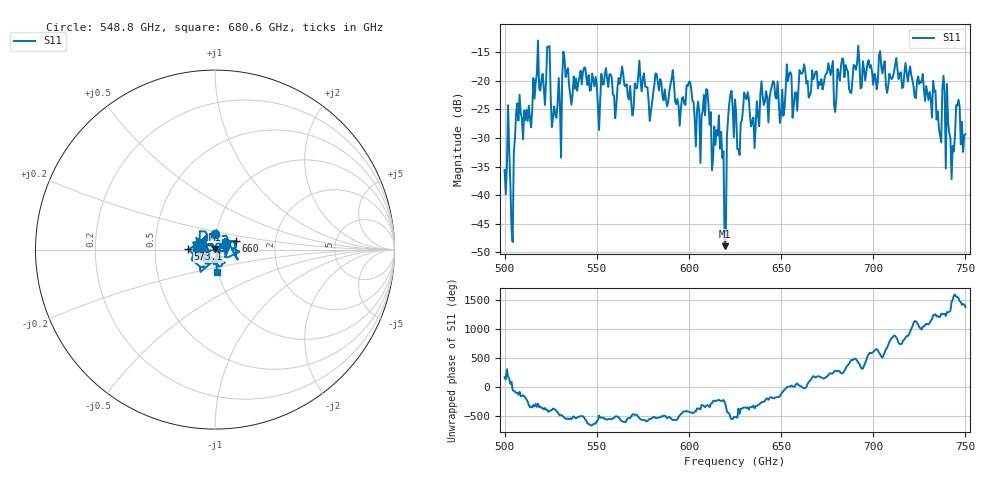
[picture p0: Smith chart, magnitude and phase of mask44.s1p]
!Created with skrf (http://scikit-rf.org).
# GHz S MA R 50.0
!freq magS11 angS11
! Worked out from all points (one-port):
!   401 points, 500 GHz to 750 GHz, reference 50 ohm
!   lowest |S11| = -48.9 dB at 619.4 GHz (marker M1), VSWR 1.01, Z = 49.9 + j0.354 ohm
!   |S11| at or under -10 dB: start of sweep to end of sweep
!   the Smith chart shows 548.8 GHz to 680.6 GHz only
!   S11 on the Smith chart (normalised r, x): 548.8 GHz: 0.98, +0.18; 573.1 GHz: 0.74, +0.00; 660 GHz: 1.25, +0.12; 680.6 GHz: 0.99, -0.25
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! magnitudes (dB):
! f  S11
! 500 GHz  -35.6
! 504.4 GHz  -48.2
! 506.9 GHz  -24.0
! 513.8 GHz  -26.6
! 516.9 GHz  -20.3
! 523.8 GHz  -14.1
! 526.9 GHz  -24.5
! 531.2 GHz  -19.4
! 548.8 GHz  -21.0
! 562.5 GHz  -20.6
! 573.1 GHz  -16.5
! 593.8 GHz  -23.2
! 605 GHz  -23.6
! 609.4 GHz  -21.5
! 617.5 GHz  -28.9
! 619.4 GHz  -48.9
! 621.9 GHz  -24.0
! 625 GHz  -23.3
! 656.2 GHz  -26.5
! 660 GHz  -18.2
! 680.6 GHz  -18.0
! 687.5 GHz  -22.1
! 718.8 GHz  -20.2
! 735.6 GHz  -28.3
! 738.8 GHz  -22.1
! 742.5 GHz  -37.2
! 745.6 GHz  -24.4
! 750 GHz  -29.3
